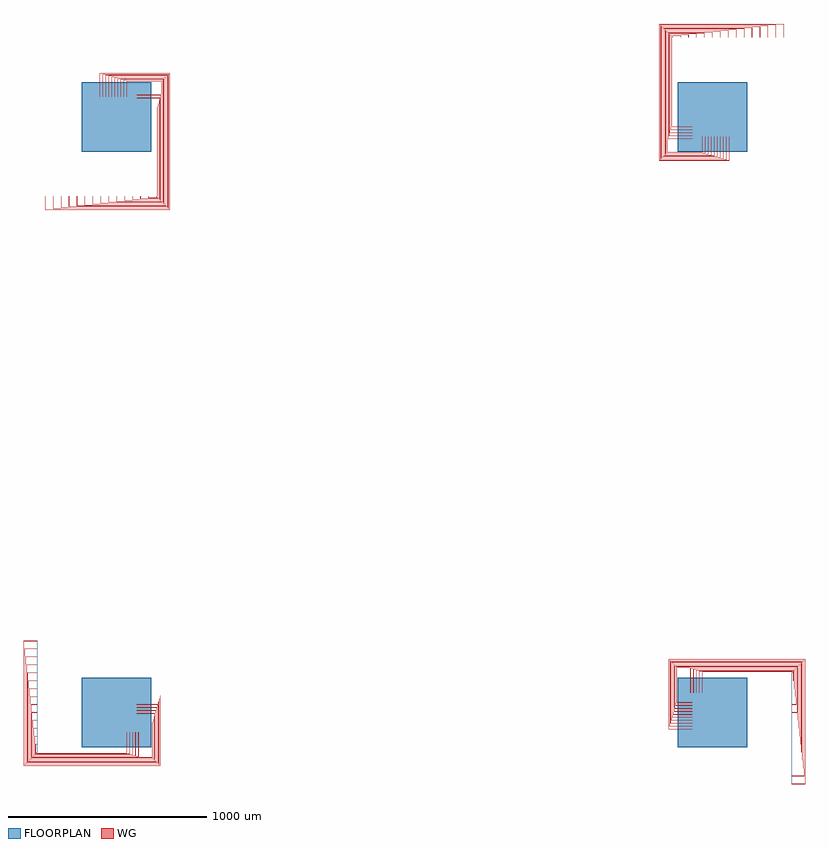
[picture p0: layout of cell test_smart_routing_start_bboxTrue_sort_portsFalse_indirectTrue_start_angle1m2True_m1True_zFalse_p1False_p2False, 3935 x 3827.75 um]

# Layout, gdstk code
import gdstk
lib = gdstk.Library(unit=1e-6, precision=1e-09)
def R(c, l, rs):  # rectangles x0, y0, x1, y1
    for r in rs: c.add(gdstk.rectangle(r[:2], r[2:], *l))
def P(c, l, *ps):  # polygons
    for p in ps: c.add(gdstk.Polygon(p, *l))
WG = (1, 0)
FLOORPLAN = (10, 0)

test_smart_routing_start = lib.new_cell('test_smart_routing_start_bboxTrue_sort_portsFalse_indirectTrue_start_angle1m2True_m1True_zFalse_p1False_p2False')
P(test_smart_routing_start, WG, [(-404.5,-204.75),(-404.5,-199.75),(-400,-199.75),(-400,-200.25),(-404,-200.25),(-404,-204.25),(49.75,-204.25),(49.75,-100),(50.25,-100),(50.25,-204.75)],
  [(-409,-209.25),(-409,-159.75),(-400,-159.75),(-400,-160.25),(-408.5,-160.25),(-408.5,-208.75),(64.75,-208.75),(64.75,-100),(65.25,-100),(65.25,-209.25)],
  [(-413.5,-213.75),(-413.5,-119.75),(-400,-119.75),(-400,-120.25),(-413,-120.25),(-413,-213.25),(79.75,-213.25),(79.75,-100),(80.25,-100),(80.25,-213.75)],
  [(-418,-218.25),(-418,-79.75),(-400,-79.75),(-400,-80.25),(-417.5,-80.25),(-417.5,-217.75),(94.75,-217.75),(94.75,-100),(95.25,-100),(95.25,-218.25)],
  [(-422.5,-222.75),(-422.5,-39.75),(-400,-39.75),(-400,-40.25),(-422,-40.25),(-422,-222.25),(109.75,-222.25),(109.75,-100),(110.25,-100),(110.25,-222.75)],
  [(-427,-227.25),(-427,0.25),(-400,0.25),(-400,-0.25),(-426.5,-0.25),(-426.5,-226.75),(179,-226.75),(179,-50.25),(100,-50.25),(100,-49.75),(179.5,-49.75),(179.5,-227.25)],
  [(-431.5,-231.75),(-431.5,40.25),(-400,40.25),(-400,39.75),(-431,39.75),(-431,-231.25),(183.5,-231.25),(183.5,-35.25),(100,-35.25),(100,-34.75),(184,-34.75),(184,-231.75)],
  [(-436,-236.25),(-436,80.25),(-400,80.25),(-400,79.75),(-435.5,79.75),(-435.5,-235.75),(188,-235.75),(188,-20.25),(100,-20.25),(100,-19.75),(188.5,-19.75),(188.5,-236.25)],
  [(-440.5,-240.75),(-440.5,120.25),(-400,120.25),(-400,119.75),(-440,119.75),(-440,-240.25),(192.5,-240.25),(192.5,-5.25),(100,-5.25),(100,-4.75),(193,-4.75),(193,-240.75)],
  [(-445,-245.25),(-445,160.25),(-400,160.25),(-400,159.75),(-444.5,159.75),(-444.5,-244.75),(197,-244.75),(197,9.75),(100,9.75),(100,10.25),(197.5,10.25),(197.5,-245.25)],
  [(-449.5,-249.75),(-449.5,200.25),(-400,200.25),(-400,199.75),(-449,199.75),(-449,-249.25),(201.5,-249.25),(201.5,24.75),(100,24.75),(100,25.25),(202,25.25),(202,-249.75)],
  [(-454,-254.25),(-454,240.25),(-400,240.25),(-400,239.75),(-453.5,239.75),(-453.5,-253.75),(206,-253.75),(206,39.75),(100,39.75),(100,40.25),(206.5,40.25),(206.5,-254.25)],
  [(-458.5,-258.75),(-458.5,280.25),(-400,280.25),(-400,279.75),(-458,279.75),(-458,-258.25),(210.5,-258.25),(210.5,54.75),(100,54.75),(100,55.25),(211,55.25),(211,-258.75)],
  [(-463,-263.25),(-463,320.25),(-400,320.25),(-400,319.75),(-462.5,319.75),(-462.5,-262.75),(215,-262.75),(215,69.75),(100,69.75),(100,70.25),(215.5,70.25),(215.5,-263.25)],
  [(-467.5,-267.75),(-467.5,360.25),(-400,360.25),(-400,359.75),(-467,359.75),(-467,-267.25),(219.5,-267.25),(219.5,84.75),(100,84.75),(100,85.25),(220,85.25),(220,-267.75)],
  [(199.75,2595.5),(199.75,2600),(200.25,2600),(200.25,2596),(204.25,2596),(204.25,3049.75),(100,3049.75),(100,3050.25),(204.75,3050.25),(204.75,2595.5)],
  [(159.75,2591),(159.75,2600),(160.25,2600),(160.25,2591.5),(208.75,2591.5),(208.75,3064.75),(100,3064.75),(100,3065.25),(209.25,3065.25),(209.25,2591)],
  [(119.75,2586.5),(119.75,2600),(120.25,2600),(120.25,2587),(213.25,2587),(213.25,3079.75),(100,3079.75),(100,3080.25),(213.75,3080.25),(213.75,2586.5)],
  [(79.75,2582),(79.75,2600),(80.25,2600),(80.25,2582.5),(217.75,2582.5),(217.75,3094.75),(100,3094.75),(100,3095.25),(218.25,3095.25),(218.25,2582)],
  [(39.75,2577.5),(39.75,2600),(40.25,2600),(40.25,2578),(222.25,2578),(222.25,3109.75),(100,3109.75),(100,3110.25),(222.75,3110.25),(222.75,2577.5)],
  [(-0.25,2573),(-0.25,2600),(0.25,2600),(0.25,2573.5),(226.75,2573.5),(226.75,3179),(50.25,3179),(50.25,3100),(49.75,3100),(49.75,3179.5),(227.25,3179.5),(227.25,2573)],
  [(-40.25,2568.5),(-40.25,2600),(-39.75,2600),(-39.75,2569),(231.25,2569),(231.25,3183.5),(35.25,3183.5),(35.25,3100),(34.75,3100),(34.75,3184),(231.75,3184),(231.75,2568.5)],
  [(-80.25,2564),(-80.25,2600),(-79.75,2600),(-79.75,2564.5),(235.75,2564.5),(235.75,3188),(20.25,3188),(20.25,3100),(19.75,3100),(19.75,3188.5),(236.25,3188.5),(236.25,2564)],
  [(-120.25,2559.5),(-120.25,2600),(-119.75,2600),(-119.75,2560),(240.25,2560),(240.25,3192.5),(5.25,3192.5),(5.25,3100),(4.75,3100),(4.75,3193),(240.75,3193),(240.75,2559.5)],
  [(-160.25,2555),(-160.25,2600),(-159.75,2600),(-159.75,2555.5),(244.75,2555.5),(244.75,3197),(-9.75,3197),(-9.75,3100),(-10.25,3100),(-10.25,3197.5),(245.25,3197.5),(245.25,2555)],
  [(-200.25,2550.5),(-200.25,2600),(-199.75,2600),(-199.75,2551),(249.25,2551),(249.25,3201.5),(-24.75,3201.5),(-24.75,3100),(-25.25,3100),(-25.25,3202),(249.75,3202),(249.75,2550.5)],
  [(-240.25,2546),(-240.25,2600),(-239.75,2600),(-239.75,2546.5),(253.75,2546.5),(253.75,3206),(-39.75,3206),(-39.75,3100),(-40.25,3100),(-40.25,3206.5),(254.25,3206.5),(254.25,2546)],
  [(-280.25,2541.5),(-280.25,2600),(-279.75,2600),(-279.75,2542),(258.25,2542),(258.25,3210.5),(-54.75,3210.5),(-54.75,3100),(-55.25,3100),(-55.25,3211),(258.75,3211),(258.75,2541.5)],
  [(-320.25,2537),(-320.25,2600),(-319.75,2600),(-319.75,2537.5),(262.75,2537.5),(262.75,3215),(-69.75,3215),(-69.75,3100),(-70.25,3100),(-70.25,3215.5),(263.25,3215.5),(263.25,2537)],
  [(-360.25,2532.5),(-360.25,2600),(-359.75,2600),(-359.75,2533),(267.25,2533),(267.25,3219.5),(-84.75,3219.5),(-84.75,3100),(-85.25,3100),(-85.25,3220),(267.75,3220),(267.75,2532.5)],
  [(2949.75,100),(2949.75,204.75),(3404.5,204.75),(3404.5,199.75),(3400,199.75),(3400,200.25),(3404,200.25),(3404,204.25),(2950.25,204.25),(2950.25,100)],
  [(2934.75,100),(2934.75,209.25),(3409,209.25),(3409,159.75),(3400,159.75),(3400,160.25),(3408.5,160.25),(3408.5,208.75),(2935.25,208.75),(2935.25,100)],
  [(2919.75,100),(2919.75,213.75),(3413.5,213.75),(3413.5,119.75),(3400,119.75),(3400,120.25),(3413,120.25),(3413,213.25),(2920.25,213.25),(2920.25,100)],
  [(3400,79.75),(3400,80.25),(3417.5,80.25),(3417.5,217.75),(2905.25,217.75),(2905.25,100),(2904.75,100),(2904.75,218.25),(3418,218.25),(3418,79.75)],
  [(3400,39.75),(3400,40.25),(3422,40.25),(3422,222.25),(2890.25,222.25),(2890.25,100),(2889.75,100),(2889.75,222.75),(3422.5,222.75),(3422.5,39.75)],
  [(3400,-0.25),(3400,0.25),(3426.5,0.25),(3426.5,226.75),(2821,226.75),(2821,50.25),(2900,50.25),(2900,49.75),(2820.5,49.75),(2820.5,227.25),(3427,227.25),(3427,-0.25)],
  [(3400,-40.25),(3400,-39.75),(3431,-39.75),(3431,231.25),(2816.5,231.25),(2816.5,35.25),(2900,35.25),(2900,34.75),(2816,34.75),(2816,231.75),(3431.5,231.75),(3431.5,-40.25)],
  [(3400,-80.25),(3400,-79.75),(3435.5,-79.75),(3435.5,235.75),(2812,235.75),(2812,20.25),(2900,20.25),(2900,19.75),(2811.5,19.75),(2811.5,236.25),(3436,236.25),(3436,-80.25)],
  [(3400,-120.25),(3400,-119.75),(3440,-119.75),(3440,240.25),(2807.5,240.25),(2807.5,5.25),(2900,5.25),(2900,4.75),(2807,4.75),(2807,240.75),(3440.5,240.75),(3440.5,-120.25)],
  [(3400,-160.25),(3400,-159.75),(3444.5,-159.75),(3444.5,244.75),(2803,244.75),(2803,-9.75),(2900,-9.75),(2900,-10.25),(2802.5,-10.25),(2802.5,245.25),(3445,245.25),(3445,-160.25)],
  [(3400,-200.25),(3400,-199.75),(3449,-199.75),(3449,249.25),(2798.5,249.25),(2798.5,-24.75),(2900,-24.75),(2900,-25.25),(2798,-25.25),(2798,249.75),(3449.5,249.75),(3449.5,-200.25)],
  [(3400,-240.25),(3400,-239.75),(3453.5,-239.75),(3453.5,253.75),(2794,253.75),(2794,-39.75),(2900,-39.75),(2900,-40.25),(2793.5,-40.25),(2793.5,254.25),(3454,254.25),(3454,-240.25)],
  [(3400,-280.25),(3400,-279.75),(3458,-279.75),(3458,258.25),(2789.5,258.25),(2789.5,-54.75),(2900,-54.75),(2900,-55.25),(2789,-55.25),(2789,258.75),(3458.5,258.75),(3458.5,-280.25)],
  [(3400,-320.25),(3400,-319.75),(3462.5,-319.75),(3462.5,262.75),(2785,262.75),(2785,-69.75),(2900,-69.75),(2900,-70.25),(2784.5,-70.25),(2784.5,263.25),(3463,263.25),(3463,-320.25)],
  [(3400,-360.25),(3400,-359.75),(3467,-359.75),(3467,267.25),(2780.5,267.25),(2780.5,-84.75),(2900,-84.75),(2900,-85.25),(2780,-85.25),(2780,267.75),(3467.5,267.75),(3467.5,-360.25)],
  [(2795.25,2949.75),(2795.25,3404.5),(2800.25,3404.5),(2800.25,3400),(2799.75,3400),(2799.75,3404),(2795.75,3404),(2795.75,2950.25),(2900,2950.25),(2900,2949.75)],
  [(2790.75,2934.75),(2790.75,3409),(2840.25,3409),(2840.25,3400),(2839.75,3400),(2839.75,3408.5),(2791.25,3408.5),(2791.25,2935.25),(2900,2935.25),(2900,2934.75)],
  [(2786.25,2919.75),(2786.25,3413.5),(2880.25,3413.5),(2880.25,3400),(2879.75,3400),(2879.75,3413),(2786.75,3413),(2786.75,2920.25),(2900,2920.25),(2900,2919.75)],
  [(2781.75,2904.75),(2781.75,3418),(2920.25,3418),(2920.25,3400),(2919.75,3400),(2919.75,3417.5),(2782.25,3417.5),(2782.25,2905.25),(2900,2905.25),(2900,2904.75)],
  [(2777.25,2889.75),(2777.25,3422.5),(2960.25,3422.5),(2960.25,3400),(2959.75,3400),(2959.75,3422),(2777.75,3422),(2777.75,2890.25),(2900,2890.25),(2900,2889.75)],
  [(2772.75,2820.5),(2772.75,3427),(3000.25,3427),(3000.25,3400),(2999.75,3400),(2999.75,3426.5),(2773.25,3426.5),(2773.25,2821),(2949.75,2821),(2949.75,2900),(2950.25,2900),(2950.25,2820.5)],
  [(2768.25,2816),(2768.25,3431.5),(3040.25,3431.5),(3040.25,3400),(3039.75,3400),(3039.75,3431),(2768.75,3431),(2768.75,2816.5),(2964.75,2816.5),(2964.75,2900),(2965.25,2900),(2965.25,2816)],
  [(2763.75,2811.5),(2763.75,3436),(3080.25,3436),(3080.25,3400),(3079.75,3400),(3079.75,3435.5),(2764.25,3435.5),(2764.25,2812),(2979.75,2812),(2979.75,2900),(2980.25,2900),(2980.25,2811.5)],
  [(2759.25,2807),(2759.25,3440.5),(3120.25,3440.5),(3120.25,3400),(3119.75,3400),(3119.75,3440),(2759.75,3440),(2759.75,2807.5),(2994.75,2807.5),(2994.75,2900),(2995.25,2900),(2995.25,2807)],
  [(2754.75,2802.5),(2754.75,3445),(3160.25,3445),(3160.25,3400),(3159.75,3400),(3159.75,3444.5),(2755.25,3444.5),(2755.25,2803),(3009.75,2803),(3009.75,2900),(3010.25,2900),(3010.25,2802.5)],
  [(2750.25,2798),(2750.25,3449.5),(3200.25,3449.5),(3200.25,3400),(3199.75,3400),(3199.75,3449),(2750.75,3449),(2750.75,2798.5),(3024.75,2798.5),(3024.75,2900),(3025.25,2900),(3025.25,2798)],
  [(2745.75,2793.5),(2745.75,3454),(3240.25,3454),(3240.25,3400),(3239.75,3400),(3239.75,3453.5),(2746.25,3453.5),(2746.25,2794),(3039.75,2794),(3039.75,2900),(3040.25,2900),(3040.25,2793.5)],
  [(2741.25,2789),(2741.25,3458.5),(3280.25,3458.5),(3280.25,3400),(3279.75,3400),(3279.75,3458),(2741.75,3458),(2741.75,2789.5),(3054.75,2789.5),(3054.75,2900),(3055.25,2900),(3055.25,2789)],
  [(2736.75,2784.5),(2736.75,3463),(3320.25,3463),(3320.25,3400),(3319.75,3400),(3319.75,3462.5),(2737.25,3462.5),(2737.25,2785),(3069.75,2785),(3069.75,2900),(3070.25,2900),(3070.25,2784.5)],
  [(2732.25,2780),(2732.25,3467.5),(3360.25,3467.5),(3360.25,3400),(3359.75,3400),(3359.75,3467),(2732.75,3467),(2732.75,2780.5),(3084.75,2780.5),(3084.75,2900),(3085.25,2900),(3085.25,2780)])
R(test_smart_routing_start, FLOORPLAN, [(-175,-175,175,175), (2825,-175,3175,175), (-175,2825,175,3175), (2825,2825,3175,3175)])
P(test_smart_routing_start, FLOORPLAN, [(-400,-200),(-400,360),(-400,360),(-400,-200)],
  [(-360,2600),(-360,2600),(200,2600),(200,2600)],
  [(3400,-360),(3400,200),(3400,200),(3400,-360)],
  [(2800,3400),(2800,3400),(3360,3400),(3360,3400)])

lib.write_gds('test_smart_routing_start_bboxTrue_sort_portsFalse_indirectTrue_start_angle1m2True_m1True_zFalse_p1False_p2False.gds')
